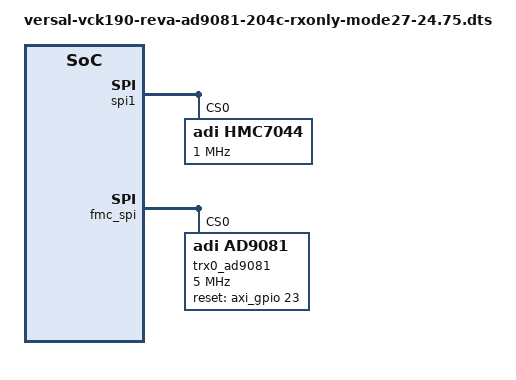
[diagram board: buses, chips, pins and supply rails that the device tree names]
// SPDX-License-Identifier: GPL-2.0
/*
 * Analog Devices AD9081-FMC-EBZ
 * https://wiki.analog.com/resources/tools-software/linux-drivers/iio-mxfe/ad9081
 * https://wiki.analog.com/resources/eval/user-guides/ad9081_fmca_ebz/ad9081_fmca_ebz_hdl
 *
 * hdl_project: <ad9081_fmca_ebz/vck190>
 * board_revision: <>
 *
 * Copyright (C) 2019-2020 Analog Devices Inc.
 */

/*
 * 204C use case with Subclass 1,
 * Med. lane rate, using gearbox and PRGOGDIV
 *   4Rxs per MxFE
 *   ADC_CLK = 4.0 GSPS
 *   Rx I/Q Rate: 4000 MSPS (Decimation of 1x1)
 *   ADC JESD204C: Mode 27.00, L=8, M=4, N=N'=12
 *   ADC-Side JESD204C Lane Rate: 24.75 Gbps
 */

#include "versal-vck190-reva-ad9081.dts"

#define RX_ONLY		1

/ {
	fpga_axi: fpga-axi@0 {
#ifdef RX_ONLY
	/delete-node/ dma@bc430000;
	/delete-node/ axi-ad9081-tx-hpc@a4b10000;
	/delete-node/ axi-jesd204-tx@a4b90000;
	/delete-node/ axi-data-offload-0@bc440000;
	/delete-node/ axi_ad9081_core_tx@0;
#endif
		clocks {
			rx_fixed_linerate: clock@0 {
				#clock-cells = <0>;
				compatible = "fixed-clock";
				clock-frequency = <24750000>;
				clock-output-names = "rx_lane_clk";
			};

			rx_fixed_link_clk: clock@2 {
				#clock-cells = <0>;
				compatible = "fixed-clock";
				clock-frequency = <375000000>;
				clock-output-names = "rx_link_clk";
			};

#ifndef RX_ONLY
			tx_fixed_linerate: clock@1 {
				#clock-cells = <0>;
				compatible = "fixed-clock";
				clock-frequency = <24750000>;
				clock-output-names = "tx_lane_clk";
			};

			tx_fixed_link_clk: clock@3 {
				#clock-cells = <0>;
				compatible = "fixed-clock";
				clock-frequency = <375000000>;
				clock-output-names = "tx_link_clk";
			};
#endif
		};
	};
};

&spi1 {
	status = "okay";

	/delete-node/ hmc7044@0;

	hmc7044: hmc7044@0 {
		#address-cells = <1>;
		#size-cells = <0>;
		#clock-cells = <1>;
		compatible = "adi,hmc7044";
		reg = <0>;
		spi-max-frequency = <1000000>;

		jesd204-device;
		#jesd204-cells = <2>;
		jesd204-sysref-provider;

		adi,jesd204-max-sysref-frequency-hz = <2000000>; /* 2 MHz */

		/*
		 * There are different versions of the AD9081-FMCA-EBZ & AD9082-FMCA-EBZ
		 * VCXO = 122.880 MHz, XO = 122.880MHz (AD9081-FMC-EBZ & AD9082-FMC-EBZ)
		 * VCXO = 100.000 MHz, XO = 100.000MHz (AD9081-FMC-EBZ-A2 & AD9082-FMC-EBZ-A2)
		 * To determine which board is which, read the freqency printed on the VCXO
		 * or use the fru-dump utility:
		 * #fru-dump -b /sys/bus/i2c/devices/15-0050/eeprom
		 */

		// adi,pll1-clkin-frequencies = <122880000 30720000 0 0>;
		// adi,vcxo-frequency = <122880000>;

		adi,pll1-clkin-frequencies = <100000000 10000000 0 0>;
		adi,vcxo-frequency = <100000000>;

		adi,pll1-loop-bandwidth-hz = <200>;

		adi,pll2-output-frequency = <3000000000>;

		adi,sysref-timer-divider = <1024>;
		adi,pulse-generator-mode = <0>;

		adi,clkin0-buffer-mode  = <0x07>;
		adi,clkin1-buffer-mode  = <0x07>;
		adi,oscin-buffer-mode = <0x15>;

		adi,gpi-controls = <0x00 0x00 0x00 0x00>;
		adi,gpo-controls = <0x37 0x33 0x00 0x00>;

		clock-output-names =
			"hmc7044_out0", "hmc7044_out1", "hmc7044_out2",
			"hmc7044_out3", "hmc7044_out4", "hmc7044_out5",
			"hmc7044_out6", "hmc7044_out7", "hmc7044_out8",
			"hmc7044_out9", "hmc7044_out10", "hmc7044_out11",
			"hmc7044_out12", "hmc7044_out13";

		hmc7044_c0: channel@0 {
			reg = <0>;
			adi,extended-name = "CORE_CLK_RX";
			adi,divider = <8>;	/* 375 MHz */
			adi,driver-mode = <HMC7044_DRIVER_MODE_LVDS>;

		};
		hmc7044_c2: channel@2 {
			reg = <2>;
			adi,extended-name = "DEV_REFCLK";
			adi,divider = <8>; /* 375 MHz */
			adi,driver-mode = <HMC7044_DRIVER_MODE_LVDS>;
		};

		hmc7044_c3: channel@3 {
			reg = <3>;
			adi,extended-name = "DEV_SYSREF";
			adi,divider = <3072>; /* 0.9765625 MHz */
			adi,driver-mode = <HMC7044_DRIVER_MODE_LVDS>;
			adi,jesd204-sysref-chan;
			//adi,disable; /* Completely disable channel */
		};

		hmc7044_c6: channel@6 {
			reg = <6>;
			adi,extended-name = "CORE_CLK_TX";
			adi,divider = <8>;	/* 375 MHz */
			adi,driver-mode = <HMC7044_DRIVER_MODE_LVDS>;
			adi,disable; /* Completely disable channel */
		};

		hmc7044_c8: channel@8 {
			reg = <8>;
			adi,extended-name = "FPGA_REFCLK1";
			adi,divider = <3072>; /* 0.9765625 MHz */
			adi,driver-mode = <HMC7044_DRIVER_MODE_LVDS>;
			//adi,disable; /* Completely disable channel */
		};

		hmc7044_c10: channel@10 {
			reg = <10>;
			adi,extended-name = "CORE_CLK_RX_ALT";
			adi,divider = <8>; /* 375 MHz */
			adi,driver-mode = <HMC7044_DRIVER_MODE_LVDS>;
		};

		hmc7044_c12: channel@12 {
			reg = <12>;
			adi,extended-name = "FPGA_REFCLK2";
			adi,divider = <8>; /* 375 MHz */
			adi,driver-mode = <HMC7044_DRIVER_MODE_LVDS>;
		};

		hmc7044_c13: channel@13 {
			reg = <13>;
			adi,extended-name = "FPGA_SYSREF";
			adi,divider = <3072>; /* 0.9765625 MHz */
			adi,driver-mode = <HMC7044_DRIVER_MODE_LVDS>;
			adi,jesd204-sysref-chan;
			//adi,disable; /* Completely disable channel */
		};
	};
};

&fmc_spi {
	/delete-node/ ad9081@0;

	trx0_ad9081: ad9081@0 {
		#address-cells = <1>;
		#size-cells = <0>;
		compatible = "adi,ad9081";
		reg = <0>;
		spi-max-frequency = <5000000>;

		reset-gpios = <&axi_gpio 23 0>;

		/* Clocks */
		clocks = <&hmc7044 2>;
		clock-names = "dev_clk";

#ifndef RX_ONLY
		clock-output-names = "rx_sampl_clk", "tx_sampl_clk";
#else
		clock-output-names = "rx_sampl_clk";
#endif
		#clock-cells = <1>;

		jesd204-device;
		#jesd204-cells = <2>;
		jesd204-top-device = <0>; /* This is the TOP device */


#ifdef RX_ONLY
		jesd204-link-ids = <FRAMER_LINK0_RX>;
		jesd204-inputs =
			<&axi_ad9081_core_rx 0 FRAMER_LINK0_RX>;
#else
		jesd204-link-ids = <FRAMER_LINK0_RX DEFRAMER_LINK0_TX>;
		jesd204-inputs =
			<&axi_ad9081_core_rx 0 FRAMER_LINK0_RX>,
			<&axi_ad9081_core_tx 0 DEFRAMER_LINK0_TX>;
#endif

		adi,tx-dacs {
			#size-cells = <0>;
			#address-cells = <1>;

			adi,dac-frequency-hz = /bits/ 64 <4000000000>; /* We need to keep this attribute, since ADC clock is derived from DAC clock and mist be > 2.9G */

#ifndef RX_ONLY
			adi,main-data-paths {
				#address-cells = <1>;
				#size-cells = <0>;

				adi,interpolation = <2>;

				ad9081_dac0: dac@0 {
					reg = <0>;
					adi,crossbar-select = <&ad9081_tx_fddc_chan0>;
					adi,nco-frequency-shift-hz = /bits/ 64 <100000000>; /* 100 MHz */
				};
				ad9081_dac1: dac@1 {
					reg = <1>;
					adi,crossbar-select = <&ad9081_tx_fddc_chan1>;
					adi,nco-frequency-shift-hz = /bits/ 64 <200000000>; /* 200 MHz */
				};
				ad9081_dac2: dac@2 {
					reg = <2>;
					adi,crossbar-select = <&ad9081_tx_fddc_chan0>, <&ad9081_tx_fddc_chan1>; /* All 4 channels @ dac2 */
					adi,nco-frequency-shift-hz = /bits/ 64 <300000000>;  /* 300 MHz */
				};
				ad9081_dac3: dac@3 {
					reg = <3>;
					adi,crossbar-select = <&ad9081_tx_fddc_chan0>, <&ad9081_tx_fddc_chan1>; /* All 4 channels @ dac2 */
					adi,nco-frequency-shift-hz = /bits/ 64 <400000000>; /* 400 MHz */
				};
			};

			adi,channelizer-paths {
				#address-cells = <1>;
				#size-cells = <0>;
				adi,interpolation = <1>;

				ad9081_tx_fddc_chan0: channel@0 {
					reg = <0>;
					adi,gain = <0>;
					adi,nco-frequency-shift-hz =  /bits/ 64 <50000000>;

				};
				ad9081_tx_fddc_chan1: channel@1 {
					reg = <1>;
					adi,gain = <0>;
					adi,nco-frequency-shift-hz =  /bits/ 64 <100000000>;

				};
			};

			adi,jesd-links {
				#size-cells = <0>;
				#address-cells = <1>;

				ad9081_tx_jesd_l0: link@0 {
					#address-cells = <1>;
					#size-cells = <0>;
					reg = <0>;
					adi,converter-select = <&ad9081_tx_fddc_chan0 0>, <&ad9081_tx_fddc_chan0 1>, /* FIXME not supported */
							       <&ad9081_tx_fddc_chan1 0>, <&ad9081_tx_fddc_chan1 1>;
					adi,logical-lane-mapping = /bits/ 8 <0 2 7 6 1 5 4 3>;

					adi,link-mode = <35>;			/* JESD Quick Configuration Mode */
					adi,subclass = <1>;			/* JESD SUBCLASS 0,1,2 */
					adi,version = <2>;			/* JESD VERSION 0=204A,1=204B,2=204C */
					adi,dual-link = <0>;			/* JESD Dual Link Mode */

					adi,converters-per-device = <4>;	/* JESD M */
					adi,octets-per-frame = <3>;		/* JESD F */

					adi,frames-per-multiframe = <256>;	/* JESD K */
					adi,converter-resolution = <12>;	/* JESD N */
					adi,bits-per-sample = <12>;		/* JESD NP' */
					adi,control-bits-per-sample = <0>;	/* JESD CS */
					adi,lanes-per-device = <8>;		/* JESD L */
					adi,samples-per-converter-per-frame = <4>; /* JESD S */
					adi,high-density = <0>;			/* JESD HD */

					adi,tpl-phase-adjust = <3>;
				};
			};
#endif /* RX_ONLY */
		};

		adi,rx-adcs {
			#size-cells = <0>;
			#address-cells = <1>;

			adi,adc-frequency-hz = /bits/ 64 <4000000000>;

			adi,main-data-paths {
				#address-cells = <1>;
				#size-cells = <0>;

				ad9081_adc0: adc@0 {
					reg = <0>;
					adi,decimation = <1>;
					adi,nco-frequency-shift-hz =  /bits/ 64 <0>;
					adi,nco-mixer-mode = <AD9081_ADC_NCO_ZIF>;
					adi,digital-gain-6db-enable;
				};
				ad9081_adc1: adc@1 {
					reg = <1>;
					adi,decimation = <1>;
					adi,nco-frequency-shift-hz =  /bits/ 64 <0>;
					adi,nco-mixer-mode = <AD9081_ADC_NCO_ZIF>;
					adi,digital-gain-6db-enable;
				};
				ad9081_adc2: adc@2 {
					reg = <2>;
					adi,decimation = <1>;
					adi,nco-frequency-shift-hz =  /bits/ 64 <0>;
					adi,nco-mixer-mode = <AD9081_ADC_NCO_ZIF>;
					adi,digital-gain-6db-enable;
				};
				ad9081_adc3: adc@3 {
					reg = <3>;
					adi,decimation = <1>;
					adi,nco-frequency-shift-hz =  /bits/ 64 <0>;
					adi,nco-mixer-mode = <AD9081_ADC_NCO_ZIF>;
					adi,digital-gain-6db-enable;
				};
			};

			adi,channelizer-paths { /* Are bypassed */
				#address-cells = <1>;
				#size-cells = <0>;


				ad9081_rx_fddc_chan0: channel@0 {
					reg = <0>;
					adi,decimation = <1>;
					adi,gain = <0>;
					adi,nco-frequency-shift-hz =  /bits/ 64 <30000000>;

				};
				ad9081_rx_fddc_chan1: channel@1 {
					reg = <1>;
					adi,decimation = <1>;
					adi,gain = <0>;
					adi,nco-frequency-shift-hz =  /bits/ 64 <60000000>;

				};
			};

			adi,jesd-links {
				#size-cells = <0>;
				#address-cells = <1>;

				ad9081_rx_jesd_l0: link@0 {
					reg = <0>;
					adi,converter-select = <&ad9081_rx_fddc_chan0 0>, <&ad9081_rx_fddc_chan0 1>,
								<&ad9081_rx_fddc_chan1 0>, <&ad9081_rx_fddc_chan1 1>;
					adi,logical-lane-mapping = /bits/ 8 <2 0 7 6 5 4 3 1>;

					adi,link-mode = <27>;		/* JESD Quick Configuration Mode */
					adi,subclass = <1>;			/* JESD SUBCLASS 0,1,2 */
					adi,version = <2>;			/* JESD VERSION 0=204A,1=204B,2=204C */
					adi,dual-link = <0>;		/* JESD Dual Link Mode */

					adi,converters-per-device = <4>;			/* JESD M */
					adi,octets-per-frame = <3>;					/* JESD F */

					adi,frames-per-multiframe = <256>;			/* JESD K */
					adi,converter-resolution = <12>;			/* JESD N */
					adi,bits-per-sample = <12>;					/* JESD NP' */
					adi,control-bits-per-sample = <0>;			/* JESD CS */
					adi,lanes-per-device = <8>;					/* JESD L */
					adi,samples-per-converter-per-frame = <4>;  /* JESD S */
					adi,high-density = <0>;
				};
			};
		};
	};
};

